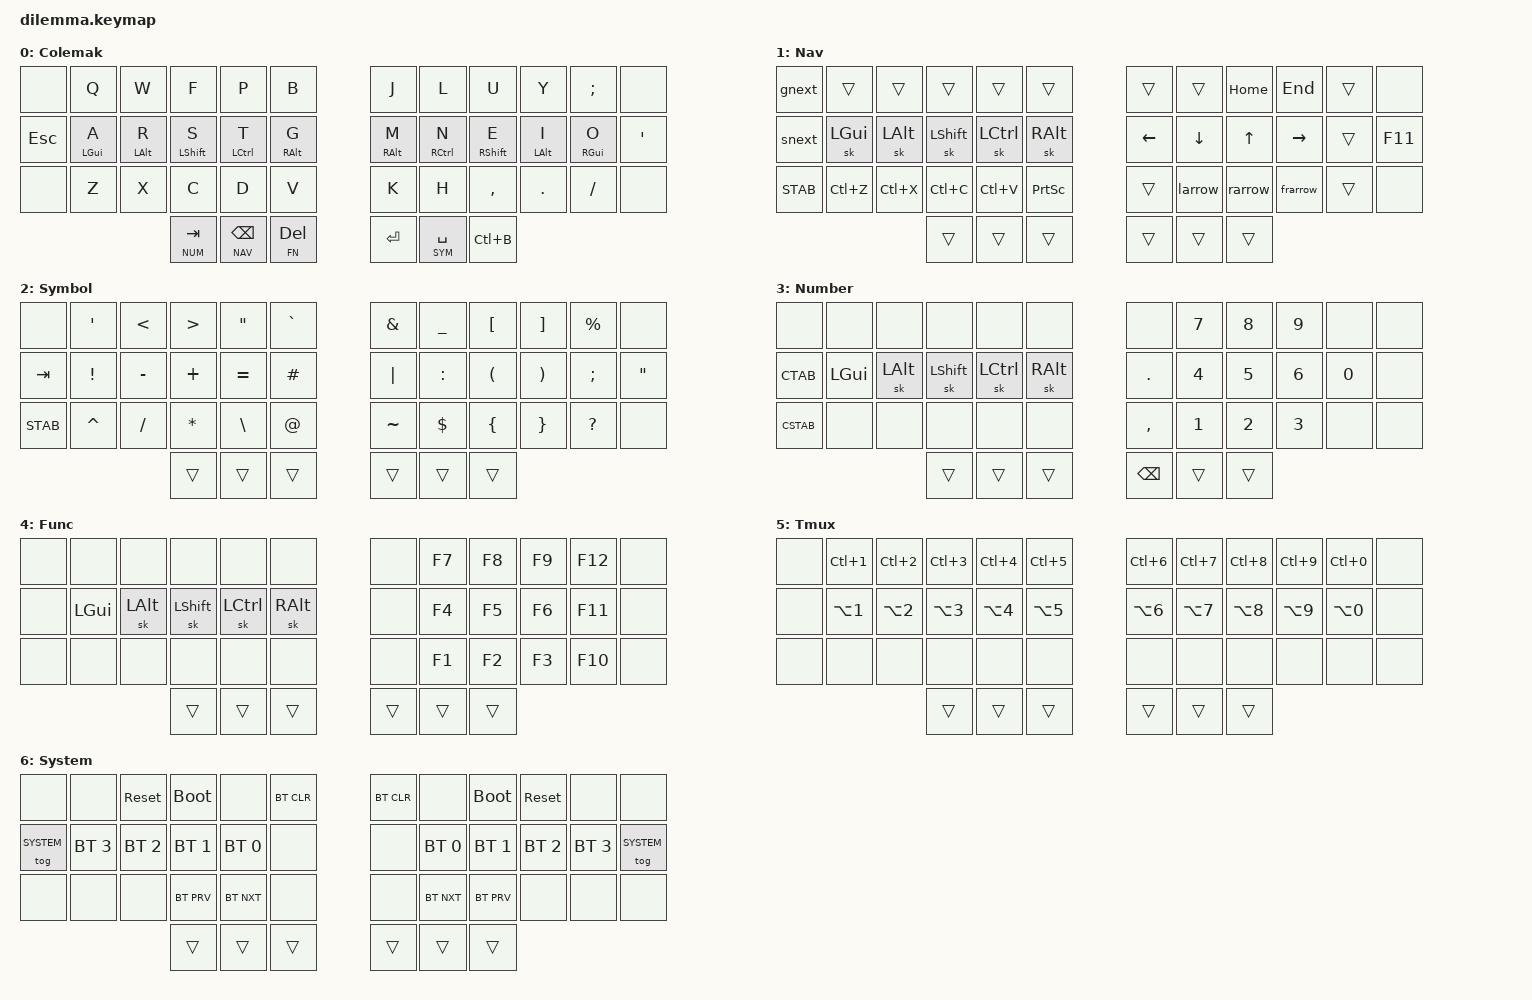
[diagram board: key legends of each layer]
/*
 * Copyright (c) 2020 The ZMK Contributors
 *
 * SPDX-License-Identifier: MIT
 */

#include <behaviors.dtsi>
#include <dt-bindings/zmk/keys.h>
#include <dt-bindings/zmk/bt.h>

#define COLEMAK 0
#define NAV 1
#define SYM 2
#define NUM 3
#define FN 4
#define TMUX 5
#define SYSTEM 6

#define STAB (LS(TAB))
#define CTAB (LC(TAB))
#define CSTAB (LC(LS(TAB)))

&lt {
  quick-tap-ms = <125>;
};

&caps_word {
  continue-list = <UNDERSCORE MINUS BACKSPACE>;
};

/ {

  chosen {
    zmk,battery = &vbatt;
  };

  vbatt: vbatt {
      compatible = "zmk,battery-nrf-vddh";
      label = "VBATT";
  };

  conditional_layers {
      compatible = "zmk,conditional-layers";
      tri_layer_extend {
          if-layers = <NAV SYM>;
          then-layer = <TMUX>;
      };
  };

  // Macros configuration, specifically character sequences.
  macros {
    // Cancel sticky mods.
    cancel: cancel_queued_sticky_mods {
      display-name = "Cancel sticky mods";
      compatible = "zmk,behavior-macro";
      #binding-cells = <0>;
      bindings = <&macro_tap &kp K_CANCEL>, <&macro_pause_for_release>;
    };

    // Right arrow macro: ->
    rarrow: right_arrow {
      display-name = "Right Arrow";
      compatible = "zmk,behavior-macro";
      #binding-cells = <0>;
      bindings = <&macro_tap &kp MINUS &kp GT>;
    };

    // Left arrow macro: <-
    larrow: left_arrow {
      display-name = "Left Arrow";
      compatible = "zmk,behavior-macro";
      #binding-cells = <0>;
      bindings = <&macro_tap &kp LT &kp MINUS>;
    };

    // Fat right arrow macro: =>
    frarrow: fat_right_arrow {
      display-name = "Fat Right Arrow";
      compatible = "zmk,behavior-macro";
      #binding-cells = <0>;
      bindings = <&macro_tap &kp EQUAL &kp GT>;
    };
  };

  combos {
      compatible = "zmk,combos";
      combo_caps_word {
         timeout-ms = <50>;
         key-positions = <27 32>;
         bindings = <&caps_word>;
         layers = <COLEMAK>;
      };
      combo_sys_layer_left {
        timeout-ms = <50>;
        key-positions = <0 24>;
        bindings = <&tog SYSTEM>;
        layers = <COLEMAK>;
      };
      combo_sys_layer_right {
        timeout-ms = <50>;
        key-positions = <11 35>;
        bindings = <&tog SYSTEM>;
        layers = <COLEMAK>;
      };
  };

// Key positions:
//
//    0  1  2  3  4  5    6  7  8  9 10 11
//   12 13 14 15 16 17   18 19 20 21 22 23
//   24 25 26 27 28 29   30 31 32 33 34 35
//            36 37 38   39 40 41
  behaviors {
        snext: swap_next {
            compatible = "zmk,behavior-tri-state";
            display-name = "SWAP_NEXT";
            #binding-cells = <0>;
            bindings = <&kt LALT>, <&kp TAB>, <&kt LALT>;
            ignored-key-positions = <12 24>;
        };
        gnext: grave_next {
            compatible = "zmk,behavior-tri-state";
            display-name = "GRAVE_NEXT";
            #binding-cells = <0>;
            bindings = <&kt LALT>, <&kp GRAVE>, <&kt LALT>;
            ignored-key-positions = <0>;
        };
        // Home-row mods, tuned to match the QMK/Achordion setup:
        //  - "balanced" == QMK PERMISSIVE_HOLD: a mod only fires on a real
        //    chord (other key pressed AND released while held), not a roll.
        //  - hold-trigger-key-positions cover the WHOLE opposite hand (all
        //    three rows + opposite thumbs), matching Achordion's
        //    opposite-hands rule. Same-hand rolls stay taps.
        //  - require-prior-idle-ms suppresses the mod mid-typing-stream.
        //  - hold-trigger-on-release defers the decision so mod-chaining works.
        lh: left_hand_positional_hold_tap {
            compatible = "zmk,behavior-hold-tap";
            display-name = "LEFT_POSITIONAL_HOLD_TAP";
            #binding-cells = <2>;
            flavor = "balanced";
            tapping-term-ms = <200>;
            quick-tap-ms = <200>;
            require-prior-idle-ms = <150>;
            hold-trigger-on-release;
            bindings = <&kp>, <&kp>;
            hold-trigger-key-positions = <6 7 8 9 10 11 18 19 20 21 22 23 30 31 32 33 34 35 39 40 41>;
        };
        rh: right_hand_positional_hold_tap {
            compatible = "zmk,behavior-hold-tap";
            display-name = "RIGHT_POSITIONAL_HOLD_TAP";
            #binding-cells = <2>;
            flavor = "balanced";
            tapping-term-ms = <200>;
            quick-tap-ms = <200>;
            require-prior-idle-ms = <150>;
            hold-trigger-on-release;
            bindings = <&kp>, <&kp>;
            hold-trigger-key-positions = <0 1 2 3 4 5 12 13 14 15 16 17 24 25 26 27 28 29 36 37 38>;
        };
  };

  keymap {
    compatible = "zmk,keymap";

    default_layer {
      display-name = "Colemak";
      bindings = <
      &none     &kp Q      &kp W      &kp F        &kp P        &kp B                     &kp J      &kp L       &kp U       &kp Y      &kp SEMI   &none
      &kp ESC   &lh LGUI A &lh LALT R &lh LSHFT S  &lh LCTRL T  &lh RALT G                &rh RALT M &rh RCTRL N &rh RSHFT E &rh LALT I &rh RGUI O &kp APOS
      &none     &kp Z      &kp X      &kp C        &kp D        &kp V                     &kp K      &kp H       &kp COMMA   &kp DOT    &kp FSLH   &none
                                      &lt NUM TAB  &lt NAV BSPC &lt FN DEL                &kp ENTER  &lt SYM SPACE &kp LC(B)
      >;
    };

    nav_layer {
      display-name = "Nav";
      bindings = <
      &gnext   &trans     &trans     &trans       &trans       &trans                    &trans     &trans      &kp HOME    &kp END    &trans     &none
      &snext   &sk LGUI   &sk LALT   &sk LSHFT    &sk LCTRL    &sk RALT                  &kp LEFT   &kp DOWN    &kp UP      &kp RIGHT  &trans     &kp F11
      &kp STAB &kp LC(Z)  &kp LC(X)  &kp LC(C)    &kp LC(V)    &kp PSCRN                 &trans     &larrow     &rarrow     &frarrow   &trans     &none 
                                     &trans       &trans       &trans                    &trans     &trans      &trans  
      >;
    };

   symbols_layer {
      display-name = "Symbol";
      bindings = <
      &none     &kp APOS   &kp LT     &kp GT       &kp DQT      &kp GRAVE                 &kp AMPS   &kp UNDER   &kp LBKT    &kp RBKT   &kp PRCNT  &none
      &kp TAB   &kp EXCL   &kp MINUS  &kp PLUS     &kp EQUAL    &kp HASH                  &kp PIPE   &kp COLON   &kp LPAR    &kp RPAR   &kp SEMI   &kp DQT
      &kp STAB  &kp CARET  &kp FSLH   &kp STAR     &kp BSLH     &kp AT                    &kp TILDE  &kp DLLR    &kp LBRC    &kp RBRC   &kp QMARK  &none
                                      &trans       &trans       &trans                    &trans     &trans      &trans
      >;
    };

    num_layer {
      display-name = "Number";
      bindings = <
      &none     &none      &none      &none        &none        &none                     &none      &kp N7      &kp N8      &kp N9     &none      &none
      &kp CTAB  &kp LGUI   &sk LALT   &sk LSHFT    &sk LCTRL    &sk RALT                  &kp DOT    &kp N4      &kp N5      &kp N6     &kp N0     &none
      &kp CSTAB &none      &none      &none        &none        &none                     &kp COMMA  &kp N1      &kp N2      &kp N3     &none      &none 
                                      &trans       &trans       &trans                    &kp BSPC   &trans      &trans
      >;
    };

    fn_layer {
      display-name = "Func";
      bindings = <
      &none   &none      &none      &none        &none        &none                     &none      &kp F7      &kp F8      &kp F9     &kp F12    &none
      &none   &kp LGUI   &sk LALT   &sk LSHFT    &sk LCTRL    &sk RALT                  &none      &kp F4      &kp F5      &kp F6     &kp F11    &none
      &none   &none      &none      &none        &none        &none                     &none      &kp F1      &kp F2      &kp F3     &kp F10    &none 
                                    &trans       &trans       &trans                    &trans     &trans      &trans
      >;
    };
  
    tmux_layer {
      display-name = "Tmux";
      bindings = <
      &none     &kp LC(N1) &kp LC(N2) &kp LC(N3)   &kp LC(N4)   &kp LC(N5)                &kp LC(N6) &kp LC(N7)  &kp LC(N8)  &kp LC(N9) &kp LC(N0) &none
      &none     &kp LA(N1) &kp LA(N2) &kp LA(N3)   &kp LA(N4)   &kp LA(N5)                &kp LA(N6) &kp LA(N7)  &kp LA(N8)  &kp LA(N9) &kp LA(N0) &none
      &none     &none      &none      &none        &none        &none                     &none      &none       &none       &none      &none      &none 
                                      &trans       &trans       &trans                    &trans     &trans      &trans
      >;
    };

    system {
      display-name = "System";
      bindings = <
      &none        &none        &sys_reset   &bootloader   &none         &bt BT_CLR                &bt BT_CLR   &none        &bootloader  &sys_reset   &none        &none
      &tog SYSTEM  &bt BT_SEL 3 &bt BT_SEL 2 &bt BT_SEL 1  &bt BT_SEL 0  &none                     &none        &bt BT_SEL 0 &bt BT_SEL 1 &bt BT_SEL 2 &bt BT_SEL 3 &tog SYSTEM
      &none        &none        &none        &bt BT_PRV    &bt BT_NXT    &none                     &none        &bt BT_NXT   &bt BT_PRV   &none        &none        &none
                                             &trans        &trans        &trans                    &trans       &trans       &trans
      >;
    };
  };
};
